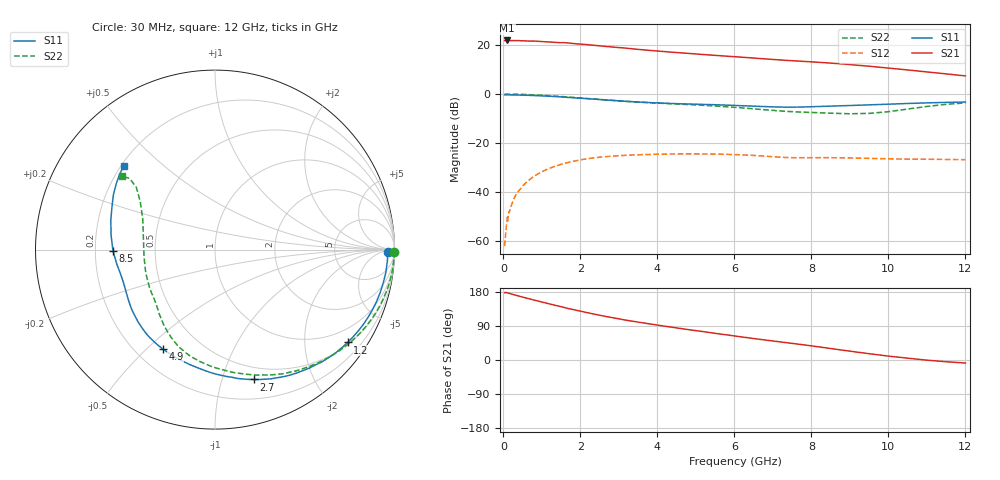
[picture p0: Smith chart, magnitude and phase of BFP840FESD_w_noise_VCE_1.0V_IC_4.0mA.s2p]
! Infineon Technologies  Discrete & RF Semiconductors
! BFP840FESD
! VCE =  1.0 V,  IC =  4.0 mA
! Common Emitter S-Parameters:  May 2012
# GHz  S  MA  R  50
!  f  S11  S21  S12  S22
! GHz  MAG  ANG  MAG  ANG  MAG  ANG  MAG  ANG
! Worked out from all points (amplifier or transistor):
!   103 points, 30 MHz to 12 GHz, reference 50 ohm
!   highest |S21| = 21.8 dB at 100 MHz (marker M1)
!   |S21| within 3 dB of that: start of sweep to 3.09 GHz
!   unconditionally stable (mu >= 1): 7.24 GHz to end of sweep
!   at 400 MHz: K = 0.03, MSG = 30.6 dB, |S12| = -39.4 dB
!   at 3.7 GHz: K = 0.32, MSG = 21.3 dB, |S12| = -24.6 dB
!   at 12 GHz: K = 1.37, MAG = 13.4 dB, |S12| = -26.7 dB
!   lowest NFmin = 0.53 dB at 450 MHz
!   S11 on the Smith chart (normalised r, x): 30 MHz: 45, -19; 1.2 GHz: 0.55, -3.08; 2.7 GHz: 0.38, -1.27; 4.9 GHz: 0.31, -0.56; 8.5 GHz: 0.28, -0.00; 12 GHz: 0.21, +0.37
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0.03  0.9628 -0.9  12.24 177.4  0.0008 112.1  0.9957 -0.7
0.04  0.9631 -1.1  12.25 177.2  0.001 81.5  0.9968 -0.9
0.05  0.962 -1.5  12.31 178.4  0.0012 114.0  0.9983 -1.2
0.1  0.9626 -3.0  12.36 177.1  0.0031 90.8  0.9973 -2.6
0.11  0.9624 -3.3  12.34 176.8  0.0026 98.9  0.9979 -2.9
0.14  0.962 -4.2  12.3 176.1  0.004 86.2  0.9973 -3.7
0.4  0.9545 -11.9  12.26 168.7  0.0107 81.4  0.989 -10.7
0.8  0.9331 -23.6  12 158.0  0.0213 72.9  0.9637 -21.2
1.2  0.9023 -35.0  11.49 147.9  0.0308 64.1  0.9259 -31.6
1.6  0.864 -46.3  11.13 138.1  0.0391 55.6  0.8803 -41.9
2.1  0.8144 -59.2  10.27 126.6  0.0471 46.0  0.8213 -54.3
2.4  0.785 -66.5  9.766 120.2  0.0508 40.7  0.7892 -61.2
2.7  0.7547 -73.4  9.276 114.2  0.0536 36.0  0.7557 -67.6
3.3  0.7037 -86.5  8.428 103.2  0.0572 28.1  0.7013 -79.2
4.1  0.6559 -102.4  7.42 90.6  0.0598 19.7  0.6494 -92.2
4.9  0.6249 -117.9  6.65 78.9  0.0606 12.9  0.6068 -103.7
6.1  0.5825 -138.8  5.705 62.1  0.0583 4.1  0.53 -119.8
7.2  0.544 -157.9  4.947 47.6  0.0517 0.8  0.4525 -135.7
8.5  0.5686 -179.4  4.275 30.3  0.0507 2.8  0.4076 -161.1
9.5  0.6035 164.1  3.691 16.6  0.0491 2.5  0.4043 170.7
10.5  0.6438 151.5  3.1 4.8  0.0474 4.6  0.4959 147.2
12  0.6888 137.7  2.342 -8.0  0.0462 10.4  0.66 141.7
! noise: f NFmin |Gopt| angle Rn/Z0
0.45  0.53  0.56  6  0.19
0.9  0.57  0.54  13  0.19
1.5  0.61  0.49  19  0.19
1.9  0.62  0.45  28  0.19
2.4  0.64  0.43  34  0.19
3.5  0.66  0.41  54  0.18
5.5  0.76  0.29  90  0.13
8  0.95  0.24  149  0.11
10  1.14  0.28  -158  0.1
12  1.34  0.45  -129  0.13
